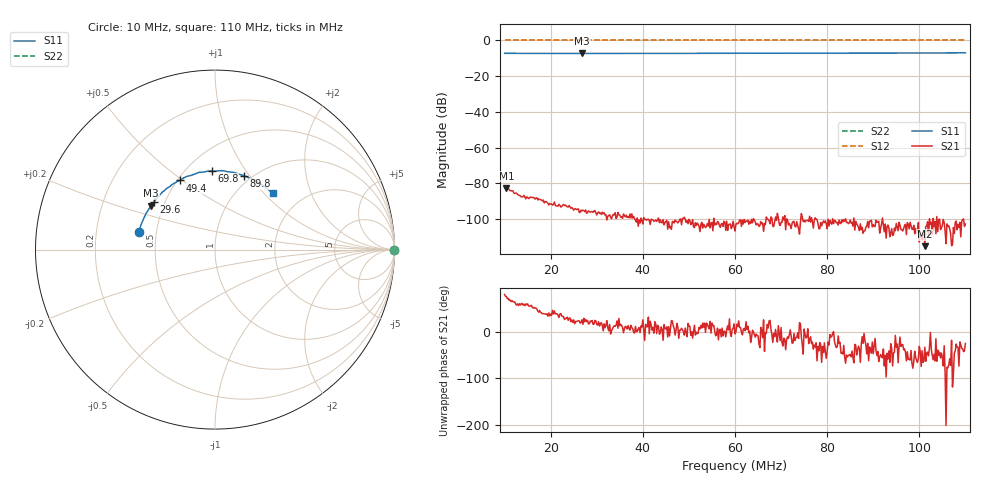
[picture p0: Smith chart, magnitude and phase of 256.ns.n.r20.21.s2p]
! Anritsu VNA Master:  Model: MS2036C/10/77
! SN:  1601066
! /card0/usr/256.ns.n.r20.21.s2p
! Existing Calibration Information:
! TYPE:  Current Settings,  Active Cal Settings
! TIME:  12/19/2017 04:13:00 PM,  12/19/2017 03:58:02 PM
! INTERNAL TEMP:  46.5 C,  47.0 C
! # POINTS:  501,  501
! START FREQ:  10.000 MHz,  10.000 MHz
! STOP FREQ:  110.000 MHz,  110.000 MHz
! SOURCE POWER:  High,  High
! IFBW:  100 Hz,  100 Hz
! AVG FACTOR:  1 ,  1
! REF PLANE 1:  0 mm,  0 mm
! REF PLANE 2:  0 mm,  0 mm
! CAL TYPE:  Full S11,  Full S11
! CAL METHOD:  SOLT,  SOLT
! CAL LINE TYPE:  Coax,  Coax
! DUT PORT 1:  N-Conn(F),  N-Conn(F)
! DUT PORT 2:  K-Conn(F),  K-Conn(F)
! CAL STATUS:  OK: Accuracy High,  --
# GHZ S DB R 50.0
! FREQ.GHZ  S11DB  S11A  S21DB  S21A  S12DB  S12A  S22DB  S22A
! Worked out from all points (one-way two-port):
!   501 points, 10 MHz to 110 MHz, reference 50 ohm
!   highest |S21| = -82.64 dB at 10.4 MHz (marker M1); lowest = -115.3 dB at 101.2 MHz (marker M2)
!   lowest |S11| = -7.3 dB at 26.8 MHz (marker M3), VSWR 2.52, Z = 21.4 + j12.9 ohm
!   |S11| at or under -10 dB: nowhere
!   |S22| runs from 0.0 to 0.0 dB; largest |S21 - S12| = 1
!   S11 on the Smith chart (normalised r, x): 10 MHz: 0.40, +0.10; 29.6 MHz: 0.43, +0.28; 49.4 MHz: 0.51, +0.49; 69.8 MHz: 0.66, +0.71; 89.8 MHz: 0.93, +0.95; 110 MHz: 1.43, +1.12
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0.01  -7.22 166.9  -82.78 79.0  0.00 0.0  0.00 0.0
0.0104  -7.21 166.4  -82.64 74.4  0.00 0.0  0.00 0.0
0.0194  -7.25 154.9  -91.35 32.8  0.00 0.0  0.00 0.0
0.0268  -7.29 145.5  -95.54 25.2  0.00 0.0  0.00 0.0
0.0296  -7.26 142.1  -95.39 23.9  0.00 0.0  0.00 0.0
0.0366  -7.24 133.1  -99.19 5.2  0.00 0.0  0.00 0.0
0.0434  -7.27 124.5  -99.54 10.4  0.00 0.0  0.00 0.0
0.0494  -7.28 117.1  -102.00 -2.8  0.00 0.0  0.00 0.0
0.0526  -7.21 113.0  -102.93 13.1  0.00 0.0  0.00 0.0
0.0556  -7.21 109.8  -103.48 0.7  0.00 0.0  0.00 0.0
0.06  -7.18 103.9  -106.84 -5.0  0.00 0.0  0.00 0.0
0.0632  -7.17 100.6  -101.41 0.6  0.00 0.0  0.00 0.0
0.0664  -7.17 96.3  -102.53 -42.4  0.00 0.0  0.00 0.0
0.0698  -7.14 92.5  -103.74 -19.5  0.00 0.0  0.00 0.0
0.0736  -7.15 87.5  -103.49 -2.6  0.00 0.0  0.00 0.0
0.0768  -7.11 84.0  -101.59 -22.3  0.00 0.0  0.00 0.0
0.0844  -7.08 74.9  -101.96 -54.3  0.00 0.0  0.00 0.0
0.0898  -7.10 68.3  -104.53 -22.3  0.00 0.0  0.00 0.0
0.0934  -7.09 63.8  -105.06 -41.4  0.00 0.0  0.00 0.0
0.0968  -7.04 59.8  -103.62 -37.2  0.00 0.0  0.00 0.0
0.1012  -7.03 54.5  -115.30 -33.7  0.00 0.0  0.00 0.0
0.11  -6.96 44.3  -102.93 -25.6  0.00 0.0  0.00 0.0
